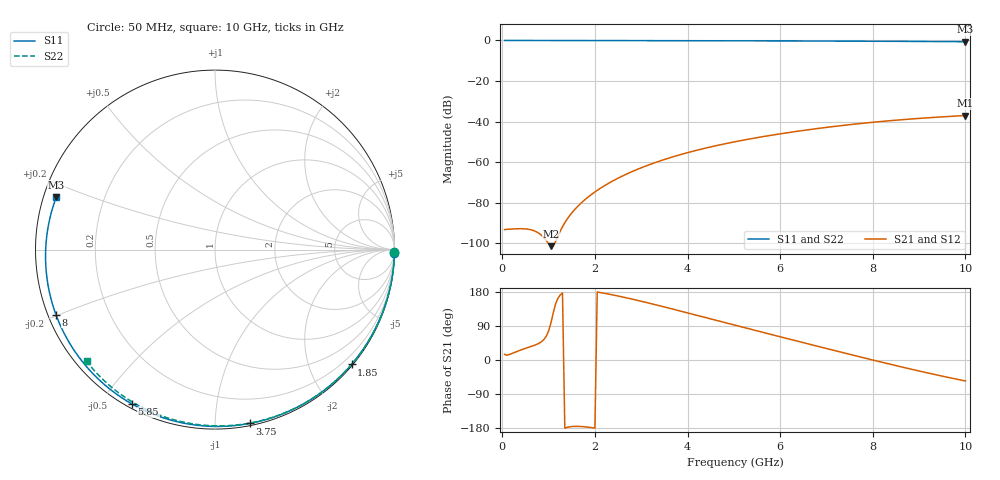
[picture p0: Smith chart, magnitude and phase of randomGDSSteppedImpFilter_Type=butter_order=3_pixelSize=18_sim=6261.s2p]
! freq	dB(S11)	phase(S11)	dB(S12)	phase(S12)
!  dB(S21)	phase(S21)	dB(S22)	phase(S22)
!S-par simulation data
#  GHz  S  DB  R 50
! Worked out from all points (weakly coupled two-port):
!   200 points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, 50 MHz to 10 GHz, reference 50 ohm
!   highest |S21| = -37.02 dB at 10 GHz (marker M1); lowest = -101.4 dB at 1.05 GHz (marker M2)
!   lowest |S11| = -0.6 dB at 10 GHz (marker M3), VSWR 28.16, Z = 1.82 + j8.01 ohm
!   |S11| at or under -10 dB: nowhere
!   |S22| runs from -0.5 to 0.0 dB; largest |S21 - S12| = 0
!   S11 on the Smith chart (normalised r, x): 50 MHz: open; 1.85 GHz: 0.03, -2.74; 3.75 GHz: 0.02, -1.22; 5.85 GHz: 0.02, -0.60; 8 GHz: 0.02, -0.20; 10 GHz: 0.04, +0.16
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0.05  -0.00 -1.1  -93.30 14.7  -93.30 14.7  -0.00 -0.8
0.55  -0.01 -12.1  -93.06 32.8  -93.06 32.8  -0.01 -8.8
1.05  -0.03 -23.0  -101.45 97.6  -101.45 97.6  -0.02 -16.7
1.7  -0.05 -36.9  -80.22 -175.5  -80.22 -175.5  -0.03 -26.9
1.75  -0.05 -38.0  -79.19 -175.9  -79.19 -175.9  -0.04 -27.6
1.85  -0.05 -40.1  -77.27 -177.2  -77.27 -177.2  -0.04 -29.2
2.15  -0.06 -46.4  -72.43 177.3  -72.43 177.3  -0.04 -33.8
2.5  -0.07 -53.6  -67.92 168.9  -67.92 168.9  -0.05 -39.1
2.9  -0.08 -61.8  -63.72 157.9  -63.72 157.9  -0.06 -45.2
3.4  -0.10 -71.8  -59.45 143.0  -59.45 143.0  -0.07 -52.6
3.75  -0.11 -78.7  -56.94 132.2  -56.94 132.2  -0.08 -57.7
4.4  -0.13 -91.2  -53.02 111.6  -53.02 111.6  -0.10 -67.0
5.05  -0.16 -103.5  -49.83 91.1  -49.83 91.1  -0.12 -76.0
5.85  -0.20 -118.2  -46.59 65.9  -46.59 65.9  -0.15 -86.8
6.7  -0.26 -133.8  -43.75 39.6  -43.75 39.6  -0.19 -97.9
7.35  -0.32 -145.7  -41.91 19.6  -41.91 19.6  -0.23 -106.2
8  -0.38 -157.8  -40.35 -0.1  -40.35 -0.1  -0.27 -114.3
8.35  -0.41 -164.5  -39.61 -10.4  -39.61 -10.4  -0.30 -118.6
8.8  -0.47 -173.2  -38.77 -23.4  -38.77 -23.4  -0.34 -124.1
9.2  -0.51 178.7  -38.12 -34.6  -38.12 -34.6  -0.38 -129.0
9.6  -0.56 170.4  -37.54 -45.2  -37.54 -45.2  -0.42 -134.0
10  -0.62 161.8  -37.02 -55.3  -37.02 -55.3  -0.46 -139.0
